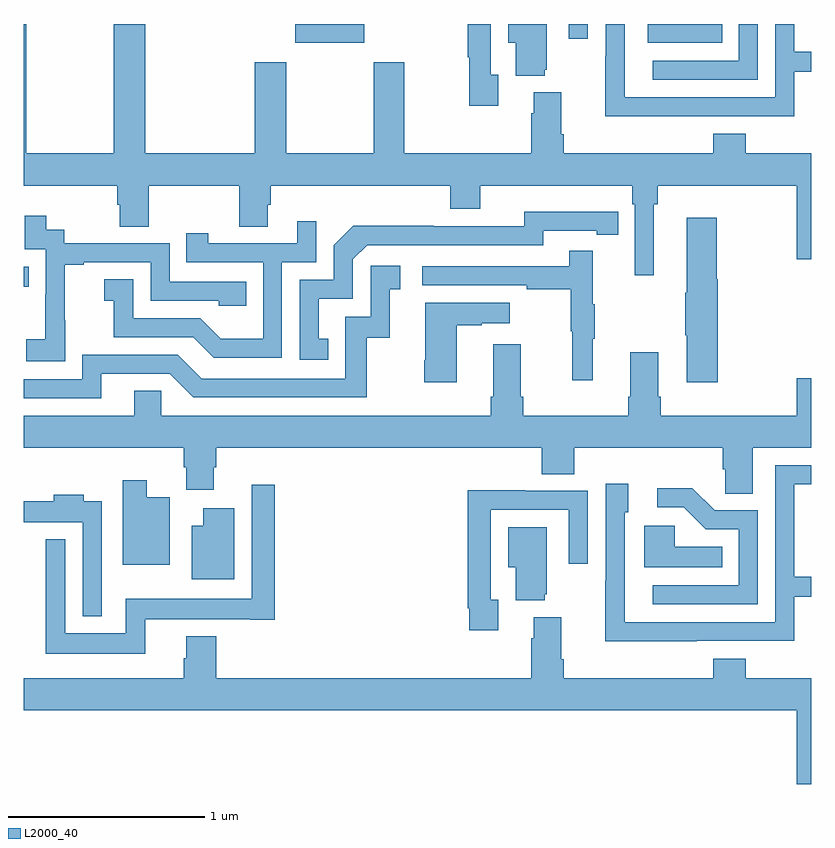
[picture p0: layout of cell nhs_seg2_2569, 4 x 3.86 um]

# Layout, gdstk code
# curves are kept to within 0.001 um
import gdstk
lib = gdstk.Library(unit=1e-6, precision=1e-09)
def R(c, l, rs):  # rectangles x0, y0, x1, y1
    for r in rs: c.add(gdstk.rectangle(r[:2], r[2:], *l))
def P(c, l, *ps):  # polygons
    for p in ps: c.add(gdstk.Polygon(p, *l))
L2000_40 = (2000, 40)

nhs_seg2_2569 = lib.new_cell('nhs_seg2_2569')
R(nhs_seg2_2569, L2000_40, [(245,636.466,245.027,636.567), (246.38,637.706,246.73,637.8), (248.168,637.706,248.546,637.8), (247.767,637.725,247.863,637.8)])
P(nhs_seg2_2569, L2000_40, [(248.417,637.332),(248.913,637.332),(248.913,637.557),(249,637.557),(249,637.658),(248.913,637.658),(248.913,637.8),(248.817,637.8),(248.817,637.428),(248.052,637.428),(248.052,637.8),(247.956,637.8),(247.956,637.637),(247.954,637.637),(247.954,637.331),(248.417,637.331)],
  [(247.411,637.542),(247.371,637.542),(247.371,637.8),(247.255,637.8),(247.255,637.63),(247.263,637.63),(247.263,637.386),(247.411,637.386)],
  [(247.646,637.569),(247.657,637.569),(247.657,637.8),(247.46,637.8),(247.46,637.706),(247.499,637.706),(247.499,637.538),(247.646,637.538)],
  [(248.727,637.8),(248.631,637.8),(248.631,637.614),(248.193,637.614),(248.193,637.518),(248.727,637.518)],
  [(246.778,637.606),(246.778,637.144),(246.333,637.144),(246.333,637.606),(246.173,637.606),(246.173,637.144),(245.618,637.144),(245.618,637.8),(245.458,637.8),(245.458,637.144),(245.013,637.144),(245.013,637.8),(245,637.8),(245,636.98),(245.477,636.98),(245.477,636.882),(245.489,636.882),(245.489,636.772),(245.637,636.772),(245.637,636.98),(246.094,636.98),(246.094,636.772),(246.241,636.772),(246.241,636.882),(246.254,636.882),(246.254,636.98),(247.166,636.98),(247.166,636.863),(247.318,636.863),(247.318,636.98),(248.09,636.98),(248.09,636.884),(248.103,636.884),(248.103,636.525),(248.2,636.525),(248.2,636.884),(248.219,636.884),(248.219,636.98),(248.924,636.98),(248.924,636.606),(249,636.606),(249,637.144),(248.666,637.144),(248.666,637.243),(248.501,637.243),(248.501,637.144),(247.742,637.144),(247.742,637.24),(247.729,637.24),(247.729,637.453),(247.589,637.453),(247.589,637.346),(247.577,637.346),(247.577,637.144),(246.933,637.144),(246.933,637.606)],
  [(246.548,636.201),(246.499,636.201),(246.499,636.405),(246.672,636.405),(246.672,636.606),(246.744,636.678),(247.638,636.678),(247.638,636.75),(247.91,636.75),(247.91,636.73),(248.018,636.73),(248.018,636.846),(247.542,636.847),(247.542,636.774),(247.082,636.774),(247.082,636.776),(246.674,636.776),(246.576,636.678),(246.576,636.501),(246.402,636.501),(246.402,636.096),(246.548,636.096)],
  [(245.211,636.295),(245.21,636.295),(245.21,636.579),(245.305,636.579),(245.305,636.591),(245.646,636.591),(245.646,636.396),(245.991,636.396),(245.991,636.369),(246.131,636.369),(246.131,636.492),(245.742,636.492),(245.742,636.687),(245.208,636.687),(245.208,636.756),(245.116,636.756),(245.116,636.826),(245.007,636.826),(245.007,636.657),(245.112,636.657),(245.112,636.428),(245.111,636.428),(245.111,636.199),(245.013,636.199),(245.013,636.089),(245.211,636.089)],
  [(248.525,636.504),(248.52,636.504),(248.52,636.817),(248.366,636.817),(248.366,636.437),(248.359,636.437),(248.359,636.22),(248.366,636.22),(248.366,635.982),(248.525,635.982)],
  [(246.312,636.591),(246.486,636.591),(246.486,636.799),(246.389,636.799),(246.389,636.687),(245.938,636.687),(245.938,636.739),(245.827,636.739),(245.827,636.591),(246.216,636.591),(246.216,636.202),(246.002,636.202),(245.898,636.306),(245.556,636.306),(245.556,636.505),(245.409,636.505),(245.409,636.395),(245.458,636.395),(245.458,636.21),(245.861,636.21),(245.966,636.105),(246.312,636.105)],
  [(247.889,636.203),(247.9,636.203),(247.9,636.377),(247.889,636.377),(247.889,636.649),(247.771,636.649),(247.771,636.57),(247.023,636.57),(247.023,636.474),(247.555,636.474),(247.555,636.454),(247.779,636.454),(247.779,636.24),(247.786,636.24),(247.786,635.991),(247.889,635.991)],
  [(245.395,636.024),(245.742,636.024),(245.862,635.904),(246.742,635.904),(246.742,636.207),(246.86,636.207),(246.86,636.453),(246.913,636.453),(246.913,636.574),(246.762,636.574),(246.762,636.315),(246.633,636.315),(246.633,636),(245.904,636),(245.784,636.12),(245.298,636.12),(245.298,635.997),(245,635.997),(245,635.901),(245.395,635.901)],
  [(247.198,636.271),(247.325,636.271),(247.325,636.281),(247.468,636.281),(247.468,636.385),(247.04,636.385),(247.04,636.094),(247.033,636.094),(247.033,635.982),(247.198,635.982)],
  [(245.7,635.939),(245.561,635.939),(245.561,635.812),(245,635.812),(245,635.648),(245.813,635.648),(245.813,635.55),(245.825,635.55),(245.825,635.436),(245.965,635.436),(245.965,635.55),(245.978,635.55),(245.978,635.648),(247.631,635.648),(247.631,635.515),(247.796,635.515),(247.796,635.648),(248.549,635.648),(248.549,635.539),(248.562,635.539),(248.562,635.416),(248.701,635.416),(248.701,635.648),(249,635.648),(249,636.001),(248.924,636.001),(248.924,635.812),(248.234,635.812),(248.234,635.908),(248.221,635.908),(248.221,636.133),(248.081,636.133),(248.081,635.908),(248.069,635.908),(248.069,635.812),(247.538,635.812),(247.538,635.908),(247.525,635.908),(247.525,636.175),(247.385,636.175),(247.385,635.908),(247.373,635.908),(247.373,635.812),(245.7,635.812)],
  [(248.417,634.668),(248.913,634.668),(248.913,634.893),(249,634.893),(249,634.994),(248.913,634.994),(248.913,635.463),(249,635.463),(249,635.559),(248.817,635.559),(248.817,634.764),(248.053,634.764),(248.053,635.018),(248.052,635.018),(248.052,635.322),(248.071,635.322),(248.071,635.467),(247.956,635.467),(247.956,634.973),(247.954,634.973),(247.954,634.667),(248.417,634.667)],
  [(245.743,635.398),(245.626,635.398),(245.626,635.485),(245.504,635.485),(245.504,635.054),(245.743,635.054)],
  [(245.618,634.778),(246.152,634.778),(246.152,634.776),(246.275,634.776),(246.275,635.461),(246.159,635.461),(246.159,634.882),(245.52,634.882),(245.52,634.708),(245.211,634.708),(245.211,635.185),(245.114,635.185),(245.114,634.604),(245.618,634.604)],
  [(248.727,635.331),(248.508,635.331),(248.395,635.444),(248.217,635.444),(248.217,635.346),(248.351,635.346),(248.462,635.235),(248.631,635.235),(248.631,634.95),(248.193,634.95),(248.193,634.854),(248.727,634.854)],
  [(247.411,634.878),(247.371,634.878),(247.371,635.334),(247.767,635.334),(247.767,635.061),(247.863,635.061),(247.863,635.43),(247.547,635.43),(247.547,635.432),(247.255,635.432),(247.255,634.834),(247.263,634.834),(247.263,634.722),(247.411,634.722)],
  [(245.397,635.377),(245.305,635.377),(245.305,635.41),(245.153,635.41),(245.153,635.377),(245,635.377),(245,635.27),(245.301,635.27),(245.301,634.793),(245.397,634.793)],
  [(246.07,635.341),(245.912,635.341),(245.912,635.254),(245.855,635.254),(245.855,634.982),(246.07,634.982)],
  [(248.546,635.146),(248.307,635.146),(248.307,635.254),(248.15,635.254),(248.15,635.042),(248.546,635.042)],
  [(247.646,634.905),(247.657,634.905),(247.657,635.245),(247.46,635.245),(247.46,635.042),(247.499,635.042),(247.499,634.874),(247.646,634.874)],
  [(249,634.48),(248.666,634.48),(248.666,634.579),(248.501,634.579),(248.501,634.48),(247.742,634.48),(247.742,634.576),(247.729,634.576),(247.729,634.789),(247.589,634.789),(247.589,634.682),(247.577,634.682),(247.577,634.48),(245.978,634.48),(245.978,634.693),(245.825,634.693),(245.825,634.581),(245.813,634.581),(245.813,634.48),(245,634.48),(245,634.316),(248.924,634.316),(248.924,633.942),(249,633.942)])

lib.write_gds('nhs_seg2_2569.gds')
